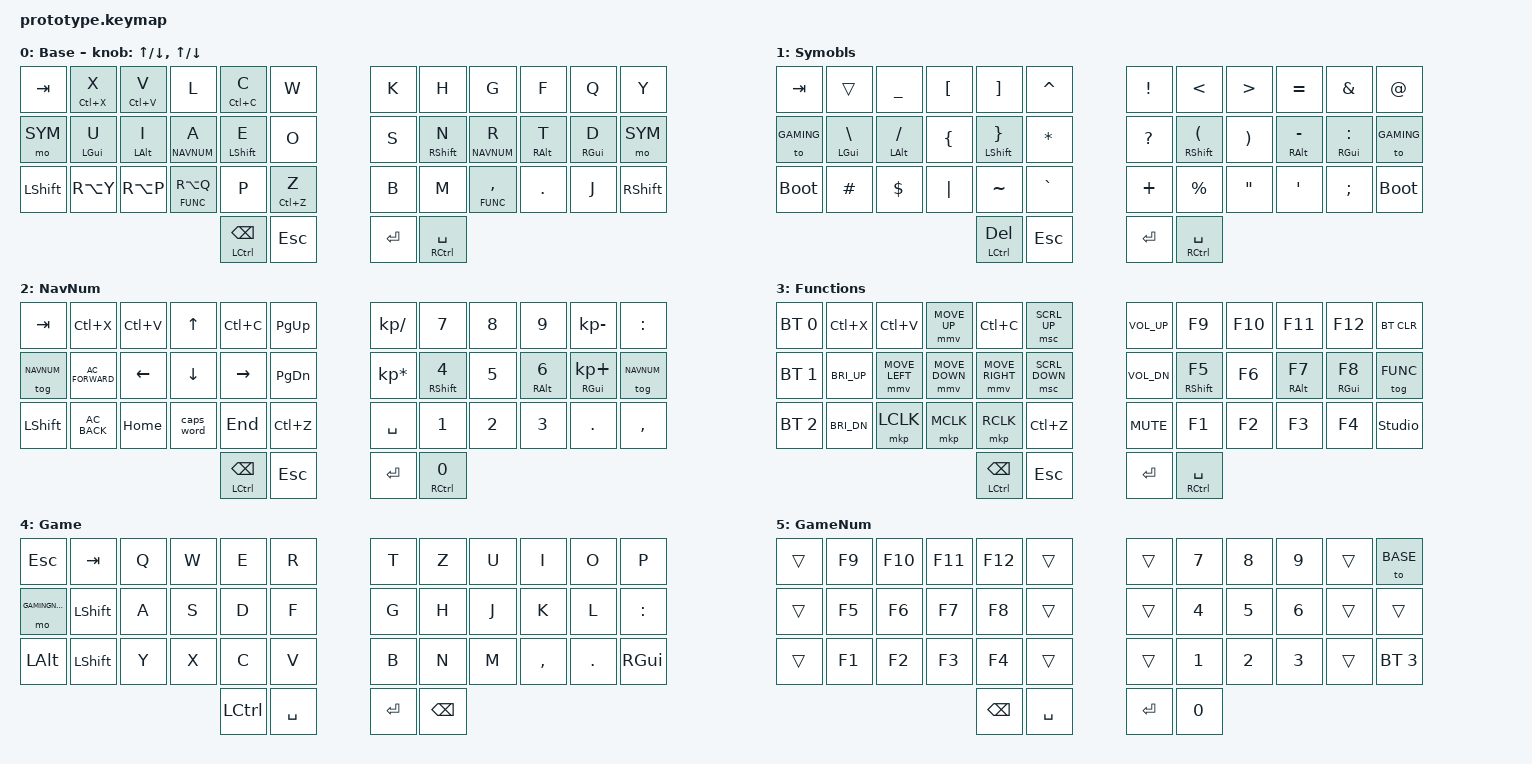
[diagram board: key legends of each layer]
/*
 * Copyright (c) 2020 The ZMK Contributors
 *
 * SPDX-License-Identifier: MIT
 */

#include <behaviors.dtsi>
#include <dt-bindings/zmk/bt.h>
#include <dt-bindings/zmk/keys.h>
#include <dt-bindings/zmk/outputs.h>
#include <dt-bindings/zmk/pointing.h>

#define BASE  0
#define SYM 1
#define NAVNUM 2
#define FUNC 3
#define GAMING 4
#define GAMINGNUM 5

#include "includes/mods.dtsi"

/ {
    keymap {
        compatible = "zmk,keymap";

        base_layer {
            label = "Base";
            bindings = <

    &kp TAB             &hml LC(X) X        &hml LC(V) V        &kp L               &hml LC(C) C        &kp W                                   &kp K               &kp H               &kp G               &kp F               &kp Q               &kp Y
    &mo SYM             &hml LGUI U         &hml LALT I         &ltlq NAVNUM A      &hmlq LSHFT E       &kp O                                   &kp S               &hmrq RSHFT N       &ltrq NAVNUM R      &hmr RALT T         &hmr RGUI D         &mo SYM
    &kp LSHFT           &kp RA(Y)           &kp RA(P)           &ltl FUNC RA(Q)     &kp P               &hml LC(Z) Z                            &kp B               &kp M               &ltr FUNC COMMA     &kp DOT             &kp J               &kp RSHFT
                                                                                    &hmlh LCTRL BKSP    &kp ESC                                 &kp RET             &hmrh RCTRL SPC
            >;

             sensor-bindings = <
                &inc_dec_kp UP DOWN
                &inc_dec_kp UP DOWN
            >;
        };

        symbols_layer {
            label = "Symobls";
            bindings = <                                                                                                                        
    &kp TAB             &trans              &kp UNDER           &kp LBKT            &kp RBKT            &kp CARET                               &kp EXCL            &kp LT              &kp GT              &kp EQUAL           &kp AMPS            &kp AT
    &to GAMING          &hml LGUI BSLH      &hml LALT FSLH      &kp LBRC            &hmlq LSHFT RBRC    &kp ASTRK                               &kp QMARK           &hmrq RSHFT LPAR    &kp RPAR            &hmr RALT MINUS     &hmr RGUI COLON     &to GAMING
    &bootloader         &kp HASH            &kp DLLR            &kp PIPE            &kp TILDE           &kp GRAVE                               &kp PLUS            &kp PRCNT           &kp DQT             &kp SQT             &kp SEMI            &bootloader
                                                                                    &hmlh LCTRL DEL     &kp ESC                                 &kp RET             &hmrh RCTL SPC
            >;
        };

        navnum_layer {
            label = "NavNum";
            bindings = <
    &kp TAB             &kp LC(X)           &kp LC(V)           &kp UP              &kp LC(C)           &kp PG_UP                               &kp KP_DIVIDE       &kp N7              &kp N8              &kp N9              &kp KP_MINUS        &kp COLON
    &tog NAVNUM         &kp C_AC_FORWARD    &kp LEFT            &kp DOWN            &kp RIGHT           &kp PG_DN                               &kp KP_MULTIPLY     &hmrq RSHFT N4      &kp N5              &hmr RALT N6        &hmr RGUI KP_PLUS   &tog NAVNUM
    &kp LSHFT           &kp C_AC_BACK       &kp HOME            &caps_word          &kp END             &kp LC(Z)                               &kp SPC             &kp N1              &kp N2              &kp N3              &kp DOT             &kp COMMA
                                                                                    &hmlh LCTRL BKSP    &kp ESC                                 &kp RET             &hmrh RCTRL N0
	        >;
        };

        functions_layer {
            label = "Functions";
            bindings = <
    &bt BT_SEL 0        &kp LC(X)           &kp LC(V)           &mmv MOVE_UP        &kp LC(C)           &msc SCRL_UP                            &kp C_VOL_UP        &kp F9              &kp F10             &kp F11             &kp F12             &bt BT_CLR
    &bt BT_SEL 1        &kp C_BRI_UP        &mmv MOVE_LEFT      &mmv MOVE_DOWN      &mmv MOVE_RIGHT     &msc SCRL_DOWN                          &kp C_VOL_DN        &hmrq RSHFT F5      &kp F6              &hmr RALT F7        &hmr RGUI F8        &tog FUNC
    &bt BT_SEL 2        &kp C_BRI_DN        &mkp LCLK           &mkp MCLK           &mkp RCLK           &kp LC(Z)                               &kp C_MUTE          &kp F1              &kp F2              &kp F3              &kp F4              &studio_unlock
                                                                                    &hmlh LCTRL BKSP    &kp ESC                                 &kp RET             &hmrh RCTL SPC
            >;
        };

        gaming_layer {
            label = "Game";
            bindings = <
    &kp ESC             &kp TAB             &kp Q               &kp W               &kp E               &kp R                                   &kp T               &kp Z               &kp U               &kp I               &kp O               &kp P
    &mo GAMINGNUM       &kp LSHFT           &kp A               &kp S               &kp D               &kp F                                   &kp G               &kp H               &kp J               &kp K               &kp L               &kp COLON
    &kp LALT            &kp LSHFT           &kp Y               &kp X               &kp C               &kp V                                   &kp B               &kp N               &kp M               &kp COMMA           &kp DOT             &kp RGUI
                                                                                    &kp LCTRL           &kp SPC                                 &kp RET             &kp BKSP
            >;
        };

        gaming_number_layer {
            label = "GameNum";
            bindings = <
    &trans              &kp F9              &kp F10             &kp F11             &kp F12             &trans                                  &trans              &kp N7              &kp N8              &kp N9              &trans           &to BASE
    &trans              &kp F5              &kp F6              &kp F7              &kp F8              &trans                                  &trans              &kp N4              &kp N5              &kp N6              &trans           &trans
    &trans              &kp F1              &kp F2              &kp F3              &kp F4              &trans                                  &trans              &kp N1              &kp N2              &kp N3              &trans           &bt BT_SEL 3
                                                                                    &kp BKSP            &kp SPC                                 &kp RET             &kp N0
            >;
        };
	};
};
